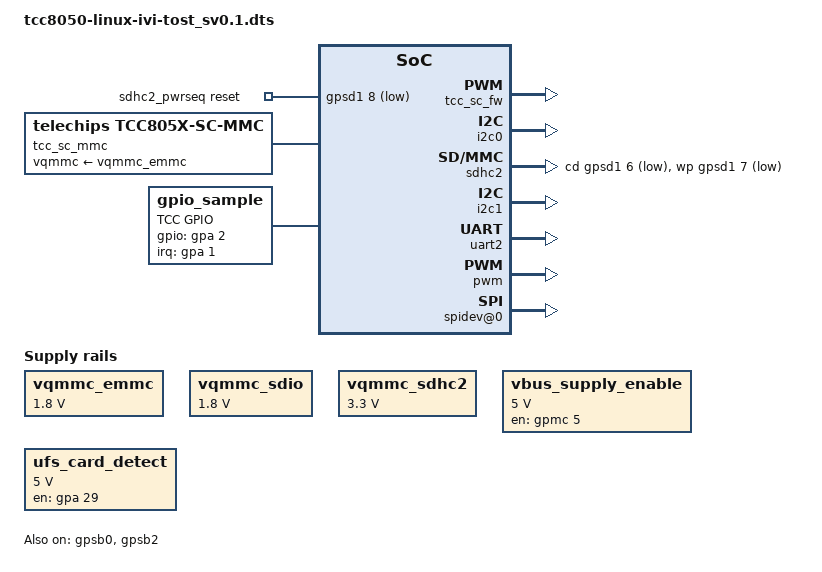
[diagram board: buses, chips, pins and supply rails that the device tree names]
// TOST BOARD
/*
 * Copyright (C) Telechips Inc.
 */

#ifndef DT_OVERLAY
/dts-v1/;
#endif

#include "tcc8050-linux-ivi.dtsi"

/* Definition for H/W LCD ports */
#define LCD_PORT1_PWR "gpmc-19"
#define LCD_PORT1_RST "gpmc-20"
#define LCD_PORT1_BLK "gph-6"

#define LCD_PORT2_PWR "gpc-8"
#define LCD_PORT2_RST "gpc-9"
#define LCD_PORT2_BLK "gph-7"

#define LCD_PORT3_PWR "gpmc-2"
#define LCD_PORT3_RST "gpmc-18"
#define LCD_PORT3_BLK "gpe-15"

#define LCD_PORT4_PWR "gpmb-25"
#define LCD_PORT4_RST "gpmb-19"
#define LCD_PORT4_BLK "gpmc-21"

#include "tcc8050-linux-ivi-display.dtsi"

/ {
	switch0:switch0 {
		compatible = "telechips,switch";
		status = "okay";

#if 0	/* for softswitch */
		pinctrl-names = "default";
		pinctrl-0 = <&switch_mb23>;

		switch-gpios = <&gpmb 23 1>;
		switch-active = <0>;
#endif
	};

	lcd_port1_bl: lcd_port1_bl {
			gpios = <&gph 6 0>;
	};

	lcd_port2_bl: lcd_port2_bl {
			gpios = <&gph 7 0>;
	};

	lcd_port3_bl: lcd_port3_bl {
			gpios = <&gpe 15 0>;
	};

	lcd_port4_bl: lcd_port4_bl {
			gpios = <&gpmc 21 0>;
	};

	vqmmc_emmc: vqmmc_emmc {
		compatible = "regulator-fixed";
		regulator-name = "vqmmc_emmc";
		regulator-min-microvolt = <1800000>;
		regulator-max-microvolt = <1800000>;
		regulator-always-on;
	};

	sdhc2_pwrseq: sdhc2_pwrseq {
		compatible = "mmc-pwrseq-simple";
		reset-gpios = <&gpsd1 8 GPIO_ACTIVE_LOW>;
	};

	vqmmc_sdio: vqmmc_sdio {
		compatible = "regulator-fixed";
		regulator-name = "vqmmc_sdio";
		regulator-min-microvolt = <1800000>;
		regulator-max-microvolt = <1800000>;
		regulator-always-on;
	};

	vqmmc_sdhc2: vqmmc_sdhc2 {
		compatible = "regulator-fixed";
		regulator-name = "vqmmc_sdhc2";
		regulator-min-microvolt = <3300000>;
		regulator-max-microvolt = <3300000>;
		regulator-always-on;
	};

	tcc_sc_mmc: tcc_sc_mmc {
		compatible = "telechips,tcc805x-sc-mmc";
		status = "okay";

		max-frequency = <200000000>;
		bus-width = <8>;

		sc-firmware = <&tcc_sc_fw>;

		no-sdio;
		no-sd;
		non-removable;
		keep-power-in-suspend;
		disable-wp;

		mmc-hs400-1_8v;
		vqmmc-supply = <&vqmmc_emmc>;
	};

	tcc_sc_ufs: tcc_sc_ufs {
		compatible = "telechips,tcc805x-sc-ufs";
		status = "disabled";
		sc-firmware = <&tcc_sc_fw>;
	};

	/*If Single core mode on, driver is load */
	vbus_supply_ehci: vbus_supply_ehci {
		gpios = <&gpmc 7 0x0>;
		gpios-states = <0x1>;
		status = "okay";
	};

	vbus_supply_dwc3: vbus_supply_dwc3 {
		gpios = <&gpmc 8 0x0>;
	};

	vbus_supply_enable: vbus_supply_enable {
		compatible = "regulator-fixed";
		regulator-name = "vbus_supply_enable";
		regulator-min-microvolt = <5000000>;
		regulator-max-microvolt = <5000000>;
		gpios = <&gpmc 5 0x0>;
		enable-active-high;
		regulator-always-on;
	}; 

	aux_detect {
		status = "disabled";

		aux-gpios = <&gpmb 13 1>;
	};

	tcc_gpio_sample {
		compatible = "gpio_sample";
		label = "TCC GPIO";
		interrupt-parent = <&gpa>;
		interrupts = <1 IRQ_TYPE_EDGE_BOTH>;
		gpios = <&gpa 2 0>;
	};

	fb0: fb@0 {
		status = "okay";
	};

	/* Panel for Framebuffer driver */
	fb_tm123xdhp90:fb_tm123xdhp90 {
		status = "disabled";
		pinctrl-0 = <&lcd_port_default3>;
		pinctrl-1 = <&lcd_port_power_on3>;
		pinctrl-2 = <&lcd_port_reset_off3>;
		pinctrl-3 = <&lcd_port_blk_on3>;
		pinctrl-4 = <&lcd_port_blk_off3>;
		pinctrl-5 = <&lcd_port_reset_on3 &lcd_port_power_off3>;
		backlight = <&lcd_port3_bl>;
	};

	/*UFS CARD DETECT*/
	ufs_card_detect: ufs_card_detect {
		compatible = "regulator-fixed";
		regulator-name = "ufs_card_detect";
		regulator-min-microvolt = <5000000>;
		regulator-max-microvolt = <5000000>;
		gpios = <&gpa 29 0x0>;
		enable-active-high;
		regulator-always-on;
	}; 
};

&a72_sc_mbox {
	status = "okay";
};

&tcc_sc_fw {
	status = "okay";
	mboxes = <&a72_sc_mbox 0>;
};

&i2c0 {
	status = "okay";
	port-mux = <22>;
	pinctrl-names = "default";
	pinctrl-0 = <&i2c22_bus>;

	/* pmic da9131-D0 */
	da9131_D0: pmic@68 {
		compatible = "dlg,da9131";
		reg = <0x68>;
		status = "disabled";

		regulators {
			DA9131_D0_BUCK1: buck1 {
				regulator-name = "core_0p8";
				regulator-always-on;
				regulator-boot-on;
			};

			DA9131_D0_BUCK2: buck2 {
				regulator-name = "gb_0p8";
				regulator-always-on;
				regulator-boot-on;
			};
		};
	}; /* pmic da9131-D0 */

	/* pmic da9131-D2 */
	da9131_D2: pmic@69 {
		compatible = "dlg,da9131";
		reg = <0x69>;
		status = "disabled";

		regulators {
			DA9131_D2_BUCK1: buck1 {
				regulator-name = "cpu_1p0";
				regulator-always-on;
				regulator-boot-on;
			};

			DA9131_D2_BUCK2: buck2 {
				regulator-name = "io_3p3";
				regulator-always-on;
				regulator-boot-on;
			};
		};
	}; /* pmic da9131-D2 */

	/* pmic da9062 */
	da9062: pmic@58 {
		compatible = "dlg,da9062";
		reg = <0x58>;
		rst-gpios = <&gpma 12 0>;
		status = "disabled";

		da9062_gpio: gpio {
			compatible = "dlg,da9062-gpio";
			gpio-controller;
			#gpio-cells = <2>;
		};

		regulators {
			DA9062_BUCK1: buck1 {
				regulator-name = "memq_1p1";
				regulator-always-on;
				regulator-boot-on;
			};

			DA9062_BUCK2: buck2 {
				regulator-name = "cpu_0p9v";
				regulator-always-on;
				regulator-boot-on;
			};

			DA9062_BUCK3: buck3 {
				regulator-name = "io_1p8";
				regulator-always-on;
				regulator-boot-on;
			};

			DA9062_BUCK4: buck4 {
				regulator-name = "memq_0p6";
				regulator-always-on;
				regulator-boot-on;
			};
#if 0
			/* Temp block for LDO2. Block min-microvolt of LDO2 */
			DA9062_LDO2: ldo2 {
				regulator-name = "mem_1p8";
				regulator-always-on;
				regulator-boot-on;
			};
#endif
			DA9062_LDO3: ldo3 {
				regulator-name = "mipi_1p2";
				regulator-always-on;
				regulator-boot-on;
			};

			DA9062_LDO4: ldo4 {
				regulator-name = "sdio_pwr";
				regulator-always-on;
				regulator-boot-on;
				regulator-min-microvolt = <1800000>;
				regulator-max-microvolt = <3300000>;
			};
		};
	}; /* pmic da9062 */
};


 /* eMMC */
&sdhc0 {
	bus-width = <8>;
	pinctrl-names = "default";
	pinctrl-0 = <&sd0_clk &sd0_cmd &sd0_bus8 &sd0_strb>;
	status = "disabled";

	sdhci-caps-mask = <0x7 0x0>;

	non-removable;
	keep-power-in-suspend;
	disable-wp;
	cap-mmc-hw-reset;

	mmc-hs400-1_8v;
	mmc-hs400-enhanced-strobe;
	tcc-mmc-taps = <0xF 0xF 0xF 0xF>;
	tcc-mmc-hs400-pos-tap = <0x6>;
	tcc-mmc-hs400-neg-tap = <0xB>;

	tcc-mmc-reset = <&gpsd0 14 0>;

	vqmmc-supply = <&vqmmc_emmc>;
};


/* SDIO  */
&sdhc1 {
	status = "disabled";
	pinctrl-names = "default";
	pinctrl-0 = <&sd1_clk &sd1_cmd &sd1_bus4 &out0_clk>;

	keep-power-in-suspend;
	cap-sdio-irq;

	vqmmc-supply = <&vqmmc_sdio>;

	cd-force-presence-change;

	tcm38xx {
		compatible = "telechips,tcm38xx";
		wifi_pwr-gpio = <&gpmd 10 0>; /* BT_WIFI_VBAT_EN */
		wlreg_on-gpio = <&gpmd 11 0>; /* WIFI_REG_ON */
		//wifi_pwr_1p8v-gpio = <&gpsd1 6 0>;
		//wifi_pwr_3p3v-gpio = <&gpsd1 7 0>;
	};
};

&sd1_clk {
	telechips,pull-up;
};

&sd1_cmd {
	telechips,pull-up;
};

&sd1_bus4 {
	telechips,pull-up;
};

/* SD slot */

&sdhc2 {
	/*
	 * In order to reduce boot time,
	 * we use the driver as module not built-in.
	 */

	compatible = "telechips,tcc805x-sdhci,module-only";
	status = "okay";
	pinctrl-names = "default";
	pinctrl-0 = <&sd2_clk &sd2_cmd &sd2_bus4 &sd1_bus4_wp_cd &sd1_pwr>;

	broken-cd;
	cd-inverted;
	keep-power-in-suspend;

	wp-gpios = <&gpsd1 7 1>;
	cd-gpios = <&gpsd1 6 0>;

	vqmmc-supply = <&vqmmc_sdhc2>;
	mmc-pwrseq = <&sdhc2_pwrseq>;
};

&sd2_clk {
	telechips,no-pull;
};

&sd2_cmd {
	telechips,no-pull;
};

&sd2_bus4 {
	telechips,no-pull;
};

#if 0
&i2c1 {
	status = "okay";
	port-mux = <10>; /* [0]SCL [1]SDA */
	pinctrl-names = "default";
	pinctrl-0 = <&i2c10_bus>;
};
#endif

&i2c2 {
	status = "disabled";
	port-mux = <30>; /* [0]SCL [1]SDA */
	pinctrl-names = "default";
	pinctrl-0 = <&i2c30_bus>;
	ak4601: ak4601@10 {
		compatible = "akm,ak4601";
		ak4601,pdn-gpio = <&gpmb 29 0>;
		//cmute-gpios = <&gpmc 5 1>;     //CODEC_MUTE    0: active high, 1: active low
		//amute-gpios = <&gpma 1 1>;       //AMP_MUTE      0: active high, 1: active low
		//stanby-gpios = <&gpma 2 0>;     //AMP_STBY      0: active high, 1: active low
		reg = <0x10>;
	};
};

&i2c3 {
	status = "disabled";
	port-mux = <11>;
	pinctrl-names = "default";
	pinctrl-0 = <&i2c11_bus>;

	/* CarPlay require ack timeout count: 500 */
	ack-timeout = <500>;
};

&i2c4 {
	status = "disabled";
	port-mux = <6>;
	pinctrl-names = "default";
	pinctrl-0 = <&i2c6_bus>;
	mxt_touch@4b {
		compatible = "atmel,maxtouch";
		status = "okay";
		reg = <0x4b>;
		pinctrl-names = "default";
		pinctrl-0 = <&tsc0_default>;

		interrupt-parent = <&gpsd1>;
		interrupts = <9 IRQ_TYPE_EDGE_FALLING>;
		interrupt-controller;
		reset-gpio = <&gpb 16 0>;
	};
};

&i2c5 {
	status = "disabled";
	port-mux = <33>;
	pinctrl-names = "default";
	pinctrl-0 = <&i2c33_bus>;

	mxt_touch@4d {
		compatible = "atmel,maxtouch";
		status = "disabled";
		reg = <0x4d>;
		pinctrl-names = "default";
		pinctrl-0 = <&tsc1_sv01>;

		interrupt-parent = <&gpa>;
		interrupts = <21 IRQ_TYPE_EDGE_FALLING>;
		reset-gpio = <&gpmd 8 0>;
	};

	mxt_touch@4f {
		compatible = "atmel,maxtouch";
		status = "disabled";
		reg = <0x4f>;
		pinctrl-names = "default";
		pinctrl-0 = <&tsc2_sv01>;

		interrupt-parent = <&gpc>;
		interrupts = <13 IRQ_TYPE_EDGE_FALLING>;
		reset-gpio = <&gpc 12 0>;
	};
};


&max968xx_config {
	compatible = "telechips,max968xx_configuration";
	max968xx_evb_type = <2>;/* 0: TCC8059 EVB, 1: TCC8050/3 sv0.1, 2:TCC8050/3 sv1.0 */
	max96851_lane_02_13_swap = <1>;

	pinctrl-names = "default", "default";
	pinctrl-0 = <&serdes_intb_sv10>;
	pinctrl-1 = <&serdes_lock>;
	status = "disabled";
};

&aux_detect_pin {
	telechips,pins = "gpmb-13";
	status = "disabled";
};

/* bluetooth */
&tcc_bluetooth {
	compatible = "telechips, tcc_bluetooth";
	bt_power-gpio = <&gpmd 10 0>; /* BTWIFI_VBAT_EN */
	bt_reg_on-gpio = <&gpmd 9 0>;
	bt_hwake-gpio = <&gpk 2 0>;
	status = "disabled";
};

/*For Raspberry PI Pin*/
&i2c1 {
	status = "okay";
	port-mux = <15>; /* [0]SCL [1]SDA */
	pinctrl-names = "default";
	pinctrl-0 = <&i2c15_bus>;
};

&uart2 {
	status = "okay";
	pinctrl-names = "default";
	pinctrl-0 = <&uart22_data>;
};

&pwm {
	status = "okay";
	gfb-port = <64 68 69 255>;
	pinctrl-names = "default";
	pinctrl-0 = <&pwm64_out &pwm68_out &pwm69_out>;
};

&gpsb0 {
	status = "okay";
	gpsb-port = <15>;
	pinctrl-names = "idle", "active";
	pinctrl-0 = <&gpsb15_bus_idle>;
	pinctrl-1 = <&gpsb15_bus_spi>;

	/* cs-gpios */
	cs-gpios = <&gpc 1 0>,<&gpc 6 0>;
};

&gpsb1 {
	status = "disabled";
};

&gpsb2 {
	status = "okay";
	compatible = "telechips,tcc805x-spi";
	gpsb-port = <22>;
	pinctrl-names = "idle", "active";
	pinctrl-0 = <&gpsb22_bus_idle>;
	pinctrl-1 = <&gpsb22_bus_spi>;

	cs-gpios = <&gpg 8 0>;

	#address-cells = <1>;
	#size-cells = <0>;
	spidev@0 {
		compatible = "rohm,dh2228fv";
		reg = <0>;
		spi-max-frequency = <20000000>;
	};
};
